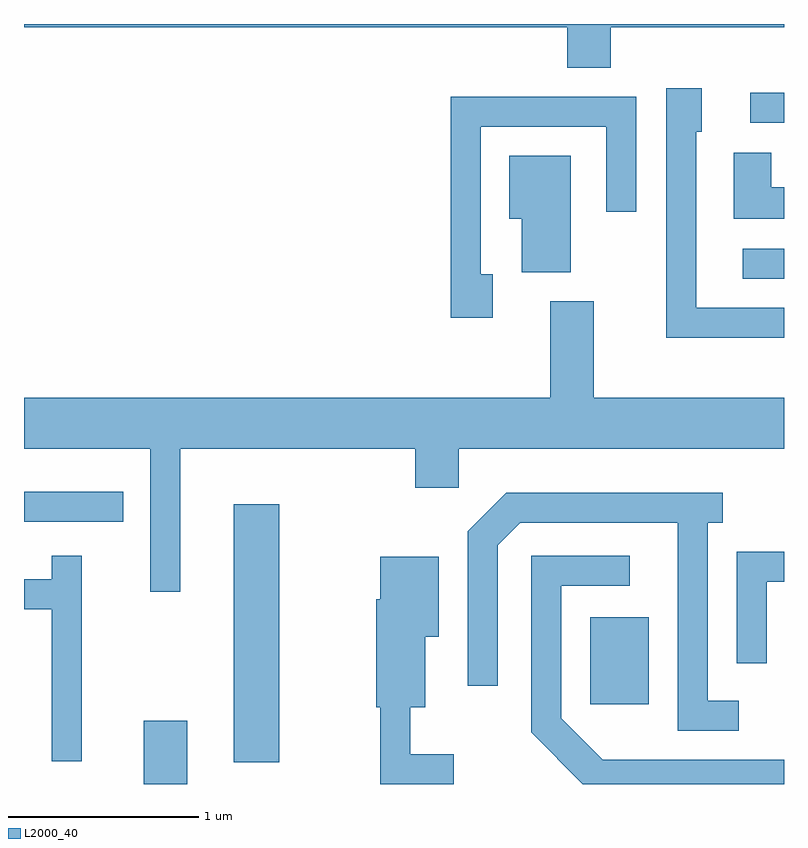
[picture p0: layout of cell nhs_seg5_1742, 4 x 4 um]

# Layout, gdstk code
import gdstk
lib = gdstk.Library(unit=1e-6, precision=1e-09)
def R(c, l, rs):  # rectangles x0, y0, x1, y1
    for r in rs: c.add(gdstk.rectangle(r[:2], r[2:], *l))
def P(c, l, *ps):  # polygons
    for p in ps: c.add(gdstk.Polygon(p, *l))
L2000_40 = (2000, 40)

nhs_seg5_1742 = lib.new_cell('nhs_seg5_1742')
R(nhs_seg5_1742, L2000_40, [(236.241,1526.072,236.469,1526.404), (236.716,1526.186,236.954,1527.544), (238.591,1526.491,238.899,1526.949), (235.611,1527.451,236.133,1527.609), (239.393,1528.731,239.611,1528.889), (239.433,1529.551,239.611,1529.709)])
P(nhs_seg5_1742, L2000_40, [(238.699,1530.056),(239.611,1530.056),(239.611,1530.072),(235.611,1530.072),(235.611,1530.056),(238.471,1530.056),(238.471,1529.841),(238.699,1529.841)],
  [(239.611,1528.579),(239.149,1528.579),(239.149,1529.506),(239.179,1529.506),(239.179,1529.734),(238.991,1529.734),(238.991,1528.421),(239.611,1528.421)],
  [(238.079,1528.754),(238.014,1528.754),(238.014,1529.531),(238.676,1529.531),(238.676,1529.083),(238.834,1529.083),(238.834,1529.689),(237.856,1529.689),(237.856,1528.526),(238.079,1528.526)],
  [(239.611,1529.214),(239.544,1529.214),(239.544,1529.394),(239.346,1529.394),(239.346,1529.046),(239.611,1529.046)],
  [(238.489,1529.379),(238.166,1529.379),(238.166,1529.046),(238.231,1529.046),(238.231,1528.766),(238.489,1528.766)],
  [(235.611,1527.836),(236.276,1527.836),(236.276,1527.083),(236.434,1527.083),(236.434,1527.836),(237.671,1527.836),(237.671,1527.631),(237.899,1527.631),(237.899,1527.836),(239.611,1527.836),(239.611,1528.104),(238.609,1528.104),(238.609,1528.614),(238.381,1528.614),(238.381,1528.104),(235.611,1528.104)],
  [(239.373,1526.509),(239.209,1526.509),(239.209,1527.446),(239.288,1527.446),(239.288,1527.604),(238.149,1527.604),(237.946,1527.402),(237.946,1526.588),(238.104,1526.588),(238.104,1527.329),(238.222,1527.446),(239.051,1527.446),(239.051,1526.351),(239.373,1526.351)],
  [(239.519,1527.136),(239.611,1527.136),(239.611,1527.294),(239.361,1527.294),(239.361,1526.708),(239.519,1526.708)],
  [(239.611,1526.199),(238.657,1526.199),(238.439,1526.417),(238.439,1527.116),(238.798,1527.116),(238.798,1527.274),(238.281,1527.274),(238.281,1526.344),(238.553,1526.072),(239.611,1526.072)],
  [(235.914,1527.273),(235.756,1527.273),(235.756,1527.149),(235.611,1527.149),(235.611,1526.991),(235.756,1526.991),(235.756,1526.193),(235.914,1526.193)],
  [(237.873,1526.229),(237.644,1526.229),(237.644,1526.476),(237.724,1526.476),(237.724,1526.846),(237.794,1526.846),(237.794,1527.269),(237.486,1527.269),(237.486,1527.044),(237.466,1527.044),(237.466,1526.476),(237.486,1526.476),(237.486,1526.072),(237.873,1526.072)])

lib.write_gds('nhs_seg5_1742.gds')
